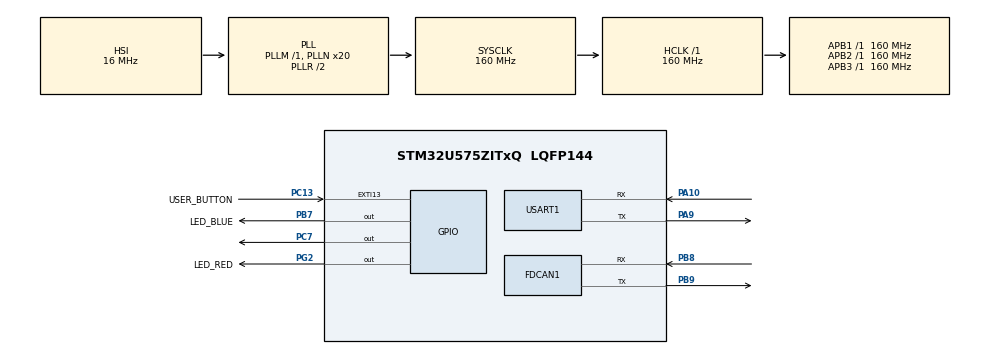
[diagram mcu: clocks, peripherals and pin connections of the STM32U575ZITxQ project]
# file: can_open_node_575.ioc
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CORTEX_M33_NS.userName=CORTEX_M33
FDCAN1.CalculateBaudRateNominal=125000
FDCAN1.CalculateTimeBitNominal=8000
FDCAN1.CalculateTimeQuantumNominal=500.0
FDCAN1.DataPrescaler=4
FDCAN1.DataTimeSeg1=13
FDCAN1.DataTimeSeg2=2
FDCAN1.NominalPrescaler=80
FDCAN1.NominalTimeSeg1=13
FDCAN1.NominalTimeSeg2=2
Mcu.Family=STM32U5
Mcu.Name=STM32U575ZITxQ
Mcu.Package=LQFP144
NVIC.FDCAN1_IT0_IRQn=true\:0\:0\:false\:false\:true\:true\:true\:true
NVIC.FDCAN1_IT1_IRQn=true\:0\:0\:false\:false\:true\:true\:true\:true
NVIC.PriorityGroup=NVIC_PRIORITYGROUP_3
NVIC.TIM17_IRQn=true\:7\:0\:false\:false\:true\:false\:true\:true
NVIC.TIM2_IRQn=true\:0\:0\:false\:false\:true\:true\:true\:true
NVIC.TimeBase=TIM17_IRQn
NVIC.TimeBaseIP=TIM17
PA10.Mode=Asynchronous
PA10.Signal=USART1_RX
PA13\ (JTMS/SWDIO).Signal=DEBUG_JTMS-SWDIO
PA14\ (JTCK/SWCLK).Signal=DEBUG_JTCK-SWCLK
PA9.Mode=Asynchronous
PA9.Signal=USART1_TX
PB3\ (JTDO/TRACESWO).Signal=DEBUG_JTDO-SWO
PB7.GPIO_Label=LED_BLUE
PB7.Signal=GPIO_Output
PB8.Mode=FDCAN_Activate
PB8.Signal=FDCAN1_RX
PB9.Mode=FDCAN_Activate
PB9.Signal=FDCAN1_TX
PC13.GPIO_Label=USER_BUTTON
PC13.Signal=GPXTI13
PC14-OSC32_IN\ (PC14).Signal=RCC_OSC32_IN
PC15-OSC32_OUT\ (PC15).Signal=RCC_OSC32_OUT
PC7.Signal=GPIO_Output
PG2.GPIO_Label=LED_RED
PG2.Signal=GPIO_Output
PWR.PowerMode=PWR_SMPS_SUPPLY
ProjectManager.HeapSize=0x200
ProjectManager.StackSize=0x400
ProjectManager.TargetToolchain=STM32CubeIDE
RCC.ADCFreq_Value=16000000
RCC.AHBFreq_Value=160000000
RCC.APB1Freq_Value=160000000
RCC.APB1TimFreq_Value=160000000
RCC.APB2Freq_Value=160000000
RCC.APB2TimFreq_Value=160000000
RCC.APB3Freq_Value=160000000
RCC.CortexFreq_Value=160000000
RCC.DACCLockSelectionVirtual=RCC_DAC1CLKSOURCE_LSI
RCC.EPOD_VALUE=16000000
RCC.HCLKFreq_Value=160000000
RCC.HSE_VALUE=16000000
RCC.HSI48_VALUE=48000000
RCC.HSI_VALUE=16000000
RCC.LSE_VALUE=32768
RCC.LSIDIV_VALUE=32000
RCC.MSI_VALUE=4000000
RCC.PLL2M=2
RCC.PLL2Source=RCC_PLLSOURCE_HSI
RCC.PLL3M=2
RCC.PLL3Source=RCC_PLLSOURCE_HSI
RCC.PLLN=20
RCC.PLLSourceVirtual=RCC_PLLSOURCE_HSI
RCC.SYSCLKFreq_VALUE=160000000
RCC.SYSCLKSource=RCC_SYSCLKSOURCE_PLLCLK
RCC.USBFreq_Value=48000000
RCC.VCOOutputFreq_Value=320000000
TIM2.PeriodNoDither=9
TIM2.Prescaler=15999
USART1.VirtualMode-Asynchronous=VM_ASYNC
VP_ICACHE_VS_ENABLE_ICACHE_MEMORY.Mode=Memoryregions
VP_ICACHE_VS_ICACHE.Mode=DirectMappedCache
VP_LPBAMQUEUE_VS_QUEUE.Mode=QUEUEMODE
VP_LPBAM_VS_SIG1.Mode=SmartRun
VP_LPBAM_VS_SIG4.Mode=LPDMA1
VP_MEMORYMAP_VS_MEMORYMAP.Mode=CurAppReg
VP_PWR_VS_DBSignals.Mode=DisableDeadBatterySignals
VP_PWR_VS_LPOM.Mode=PowerOptimisation
VP_PWR_VS_SECSignals.Mode=Security/Privilege
VP_SYS_VS_tim17.Mode=TIM17
VP_TIM2_VS_ClockSourceINT.Mode=Internal
board=NUCLEO-U575ZI-Q

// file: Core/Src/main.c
/* USER CODE BEGIN Header */
/**
  ******************************************************************************
  * @file           : main.c
  * @brief          : Main program body
  ******************************************************************************
  * @attention
  *
  * Copyright (c) 2026 STMicroelectronics.
  * All rights reserved.
  *
  * This software is licensed under terms that can be found in the LICENSE file
  * in the root directory of this software component.
  * If no LICENSE file comes with this software, it is provided AS-IS.
  *
  ******************************************************************************
  */
/* USER CODE END Header */
#include "main.h"

/* USER CODE BEGIN Includes */
#include <stdio.h>
#include "CO_app_STM32.h"
#include "OD.h"
/* USER CODE END Includes */

FDCAN_HandleTypeDef hfdcan1;

TIM_HandleTypeDef htim2;

UART_HandleTypeDef huart1;

void SystemClock_Config(void);
static void SystemPower_Config(void);
static void MX_GPIO_Init(void);
static void MX_ICACHE_Init(void);
static void MX_FDCAN1_Init(void);
static void MX_TIM2_Init(void);
static void MX_USART1_UART_Init(void);

/* USER CODE BEGIN 0 */
extern OD_t *OD;
static OD_extension_t myVar_extension;

int __io_putchar(int ch)
{
    /* Support printf over UART */
    (void)HAL_UART_Transmit(&huart1, (uint8_t*)&ch, 1, 0xFFFFU);
    return ch;
}

static ODR_t myVar_OD_callback(OD_stream_t *stream, void *buf,
                                OD_size_t count, OD_size_t *countWritten)
{
	uint32_t oldVal = 0;
	if (stream->dataLength <= sizeof(uint32_t)) {
	        memcpy(&oldVal, stream->dataOrig, stream->dataLength);
	    }

    /* Call the default write function first to actually store the value */
    ODR_t result = OD_writeOriginal(stream, buf, count, countWritten);

    if (result == ODR_OK) {
        /* Read the new value */
        uint32_t newValue = 0;
        memcpy(&newValue, stream->dataOrig, sizeof(newValue));

        /* Your logic here */
        printf("OD variable changed: 0x%04X sub%d, oldValue = %lu, newValue = %lu\r\n",
               stream->index,
               stream->subIndex,
			   oldVal,
               newValue);
    }

    return result;
}

void myApp_init(OD_t *od)
{
    /* Find the OD entry by index, e.g. 0x6000 */
    OD_entry_t *entry = OD_find(od, 0x6000);
    if (entry == NULL) return;

    /* Initialize extension with your write callback */
    memset(myVar_extension.flagsPDO, 0, sizeof(myVar_extension.flagsPDO));
    myVar_extension.read         = OD_readOriginal;  /* keep default read */
    myVar_extension.write        = myVar_OD_callback; /* your custom write */
    myVar_extension.object       = NULL; /* optional user pointer */

    OD_extension_init(entry, &myVar_extension);
}

/* USER CODE END 0 */

int main(void)
{

  /* MCU Configuration--------------------------------------------------------*/

  /* Reset of all peripherals, Initializes the Flash interface and the Systick. */
  HAL_Init();

  /* Configure the System Power */
  SystemPower_Config();

  /* Configure the system clock */
  SystemClock_Config();

  /* Initialize all configured peripherals */
  MX_GPIO_Init();
  MX_ICACHE_Init();
  MX_FDCAN1_Init();
  MX_TIM2_Init();
  MX_USART1_UART_Init();

  /* Infinite loop */
  /* USER CODE BEGIN WHILE */
  CANopenNodeSTM32 canOpenNodeSTM32;
    canOpenNodeSTM32.CANHandle = &hfdcan1;
    canOpenNodeSTM32.HWInitFunction = MX_FDCAN1_Init;
    canOpenNodeSTM32.timerHandle = &htim2;
    canOpenNodeSTM32.desiredNodeID = 0x10;
    canOpenNodeSTM32.baudrate = 1000;  // in kb/s
    canopen_app_init(&canOpenNodeSTM32);

    myApp_init(OD);
  while (1)
  {
    /* USER CODE END WHILE */

    /* USER CODE BEGIN 3 */
	  canopen_app_process();

	  	  OD_PERSIST_COMM.x6000_velocity++;
	  	  // printf("Stm32u585 testing canOpenNodeSTM32.activeNodeID = %d\r\n",canOpenNodeSTM32.activeNodeID);
	  	  //OD_set_u32(OD_find(OD, 0x6001),0x00, 543, false);
	  	  //CO_TPDOsendRequest(&canOpenNodeSTM32.canOpenStack->TPDO[0]);
	  	  HAL_Delay(10);
  }
  /* USER CODE END 3 */
}

void SystemClock_Config(void)
{
  RCC_OscInitTypeDef RCC_OscInitStruct = {0};
  RCC_ClkInitTypeDef RCC_ClkInitStruct = {0};

  /** Configure the main internal regulator output voltage
  */
  if (HAL_PWREx_ControlVoltageScaling(PWR_REGULATOR_VOLTAGE_SCALE1) != HAL_OK)
  {
    Error_Handler();
  }

  /** Initializes the CPU, AHB and APB buses clocks
  */
  RCC_OscInitStruct.OscillatorType = RCC_OSCILLATORTYPE_HSI;
  RCC_OscInitStruct.HSIState = RCC_HSI_ON;
  RCC_OscInitStruct.HSICalibrationValue = RCC_HSICALIBRATION_DEFAULT;
  RCC_OscInitStruct.PLL.PLLState = RCC_PLL_ON;
  RCC_OscInitStruct.PLL.PLLSource = RCC_PLLSOURCE_HSI;
  RCC_OscInitStruct.PLL.PLLMBOOST = RCC_PLLMBOOST_DIV1;
  RCC_OscInitStruct.PLL.PLLM = 1;
  RCC_OscInitStruct.PLL.PLLN = 20;
  RCC_OscInitStruct.PLL.PLLP = 2;
  RCC_OscInitStruct.PLL.PLLQ = 2;
  RCC_OscInitStruct.PLL.PLLR = 2;
  RCC_OscInitStruct.PLL.PLLRGE = RCC_PLLVCIRANGE_1;
  RCC_OscInitStruct.PLL.PLLFRACN = 0;
  if (HAL_RCC_OscConfig(&RCC_OscInitStruct) != HAL_OK)
  {
    Error_Handler();
  }

  /** Initializes the CPU, AHB and APB buses clocks
  */
  RCC_ClkInitStruct.ClockType = RCC_CLOCKTYPE_HCLK|RCC_CLOCKTYPE_SYSCLK
                              |RCC_CLOCKTYPE_PCLK1|RCC_CLOCKTYPE_PCLK2
                              |RCC_CLOCKTYPE_PCLK3;
  RCC_ClkInitStruct.SYSCLKSource = RCC_SYSCLKSOURCE_PLLCLK;
  RCC_ClkInitStruct.AHBCLKDivider = RCC_SYSCLK_DIV1;
  RCC_ClkInitStruct.APB1CLKDivider = RCC_HCLK_DIV1;
  RCC_ClkInitStruct.APB2CLKDivider = RCC_HCLK_DIV1;
  RCC_ClkInitStruct.APB3CLKDivider = RCC_HCLK_DIV1;

  if (HAL_RCC_ClockConfig(&RCC_ClkInitStruct, FLASH_LATENCY_4) != HAL_OK)
  {
    Error_Handler();
  }
}

/**
  * @brief Power Configuration
  * @retval None
  */
static void SystemPower_Config(void)
{
  HAL_PWREx_EnableVddIO2();

  /*
   * Disable the internal Pull-Up in Dead Battery pins of UCPD peripheral
   */
  HAL_PWREx_DisableUCPDDeadBattery();

  /*
   * Switch to SMPS regulator instead of LDO
   */
  if (HAL_PWREx_ConfigSupply(PWR_SMPS_SUPPLY) != HAL_OK)
  {
    Error_Handler();
  }
}

static void MX_FDCAN1_Init(void)
{

  hfdcan1.Instance = FDCAN1;
  hfdcan1.Init.ClockDivider = FDCAN_CLOCK_DIV1;
  hfdcan1.Init.FrameFormat = FDCAN_FRAME_CLASSIC;
  hfdcan1.Init.Mode = FDCAN_MODE_NORMAL;
  hfdcan1.Init.AutoRetransmission = DISABLE;
  hfdcan1.Init.TransmitPause = DISABLE;
  hfdcan1.Init.ProtocolException = DISABLE;
  hfdcan1.Init.NominalPrescaler = 80;
  hfdcan1.Init.NominalSyncJumpWidth = 1;
  hfdcan1.Init.NominalTimeSeg1 = 13;
  hfdcan1.Init.NominalTimeSeg2 = 2;
  hfdcan1.Init.DataPrescaler = 4;
  hfdcan1.Init.DataSyncJumpWidth = 1;
  hfdcan1.Init.DataTimeSeg1 = 13;
  hfdcan1.Init.DataTimeSeg2 = 2;
  hfdcan1.Init.StdFiltersNbr = 0;
  hfdcan1.Init.ExtFiltersNbr = 0;
  hfdcan1.Init.TxFifoQueueMode = FDCAN_TX_FIFO_OPERATION;
  if (HAL_FDCAN_Init(&hfdcan1) != HAL_OK)
  {
    Error_Handler();
  }

}

static void MX_ICACHE_Init(void)
{

  /** Enable instruction cache in 1-way (direct mapped cache)
  */
  if (HAL_ICACHE_ConfigAssociativityMode(ICACHE_1WAY) != HAL_OK)
  {
    Error_Handler();
  }
  if (HAL_ICACHE_Enable() != HAL_OK)
  {
    Error_Handler();
  }

}

static void MX_TIM2_Init(void)
{

  TIM_ClockConfigTypeDef sClockSourceConfig = {0};
  TIM_MasterConfigTypeDef sMasterConfig = {0};

  htim2.Instance = TIM2;
  htim2.Init.Prescaler = 15999;
  htim2.Init.CounterMode = TIM_COUNTERMODE_UP;
  htim2.Init.Period = 9;
  htim2.Init.ClockDivision = TIM_CLOCKDIVISION_DIV1;
  htim2.Init.AutoReloadPreload = TIM_AUTORELOAD_PRELOAD_DISABLE;
  if (HAL_TIM_Base_Init(&htim2) != HAL_OK)
  {
    Error_Handler();
  }
  sClockSourceConfig.ClockSource = TIM_CLOCKSOURCE_INTERNAL;
  if (HAL_TIM_ConfigClockSource(&htim2, &sClockSourceConfig) != HAL_OK)
  {
    Error_Handler();
  }
  sMasterConfig.MasterOutputTrigger = TIM_TRGO_RESET;
  sMasterConfig.MasterSlaveMode = TIM_MASTERSLAVEMODE_DISABLE;
  if (HAL_TIMEx_MasterConfigSynchronization(&htim2, &sMasterConfig) != HAL_OK)
  {
    Error_Handler();
  }

}

static void MX_USART1_UART_Init(void)
{

  huart1.Instance = USART1;
  huart1.Init.BaudRate = 115200;
  huart1.Init.WordLength = UART_WORDLENGTH_8B;
  huart1.Init.StopBits = UART_STOPBITS_1;
  huart1.Init.Parity = UART_PARITY_NONE;
  huart1.Init.Mode = UART_MODE_TX_RX;
  huart1.Init.HwFlowCtl = UART_HWCONTROL_NONE;
  huart1.Init.OverSampling = UART_OVERSAMPLING_16;
  huart1.Init.OneBitSampling = UART_ONE_BIT_SAMPLE_DISABLE;
  huart1.Init.ClockPrescaler = UART_PRESCALER_DIV1;
  huart1.AdvancedInit.AdvFeatureInit = UART_ADVFEATURE_NO_INIT;
  if (HAL_UART_Init(&huart1) != HAL_OK)
  {
    Error_Handler();
  }
  if (HAL_UARTEx_SetTxFifoThreshold(&huart1, UART_TXFIFO_THRESHOLD_1_8) != HAL_OK)
  {
    Error_Handler();
  }
  if (HAL_UARTEx_SetRxFifoThreshold(&huart1, UART_RXFIFO_THRESHOLD_1_8) != HAL_OK)
  {
    Error_Handler();
  }
  if (HAL_UARTEx_DisableFifoMode(&huart1) != HAL_OK)
  {
    Error_Handler();
  }

}

static void MX_GPIO_Init(void)
{
  GPIO_InitTypeDef GPIO_InitStruct = {0};

  /* GPIO Ports Clock Enable */
  __HAL_RCC_GPIOC_CLK_ENABLE();
  __HAL_RCC_GPIOG_CLK_ENABLE();
  __HAL_RCC_GPIOA_CLK_ENABLE();
  __HAL_RCC_GPIOB_CLK_ENABLE();

  /*Configure GPIO pin Output Level */
  HAL_GPIO_WritePin(LED_RED_GPIO_Port, LED_RED_Pin, GPIO_PIN_RESET);

  /*Configure GPIO pin Output Level */
  HAL_GPIO_WritePin(GPIOC, GPIO_PIN_7, GPIO_PIN_RESET);

  /*Configure GPIO pin Output Level */
  HAL_GPIO_WritePin(LED_BLUE_GPIO_Port, LED_BLUE_Pin, GPIO_PIN_RESET);

  /*Configure GPIO pin : USER_BUTTON_Pin */
  GPIO_InitStruct.Pin = USER_BUTTON_Pin;
  GPIO_InitStruct.Mode = GPIO_MODE_IT_RISING;
  GPIO_InitStruct.Pull = GPIO_NOPULL;
  HAL_GPIO_Init(USER_BUTTON_GPIO_Port, &GPIO_InitStruct);

  /*Configure GPIO pin : LED_RED_Pin */
  GPIO_InitStruct.Pin = LED_RED_Pin;
  GPIO_InitStruct.Mode = GPIO_MODE_OUTPUT_PP;
  GPIO_InitStruct.Pull = GPIO_NOPULL;
  GPIO_InitStruct.Speed = GPIO_SPEED_FREQ_LOW;
  HAL_GPIO_Init(LED_RED_GPIO_Port, &GPIO_InitStruct);

  /*Configure GPIO pin : PC7 */
  GPIO_InitStruct.Pin = GPIO_PIN_7;
  GPIO_InitStruct.Mode = GPIO_MODE_OUTPUT_PP;
  GPIO_InitStruct.Pull = GPIO_NOPULL;
  GPIO_InitStruct.Speed = GPIO_SPEED_FREQ_LOW;
  HAL_GPIO_Init(GPIOC, &GPIO_InitStruct);

  /*Configure GPIO pin : LED_BLUE_Pin */
  GPIO_InitStruct.Pin = LED_BLUE_Pin;
  GPIO_InitStruct.Mode = GPIO_MODE_OUTPUT_PP;
  GPIO_InitStruct.Pull = GPIO_NOPULL;
  GPIO_InitStruct.Speed = GPIO_SPEED_FREQ_LOW;
  HAL_GPIO_Init(LED_BLUE_GPIO_Port, &GPIO_InitStruct);

}

void HAL_TIM_PeriodElapsedCallback(TIM_HandleTypeDef *htim)
{
  if (htim->Instance == TIM17)
  {
    HAL_IncTick();
  }
  /* USER CODE BEGIN Callback 1 */
  if (canopenNodeSTM32 != NULL && htim == canopenNodeSTM32->timerHandle) {
         canopen_app_interrupt();
     }

  /* USER CODE END Callback 1 */
}

void Error_Handler(void)
{
  __disable_irq();
  while (1)
  {
  }
}
